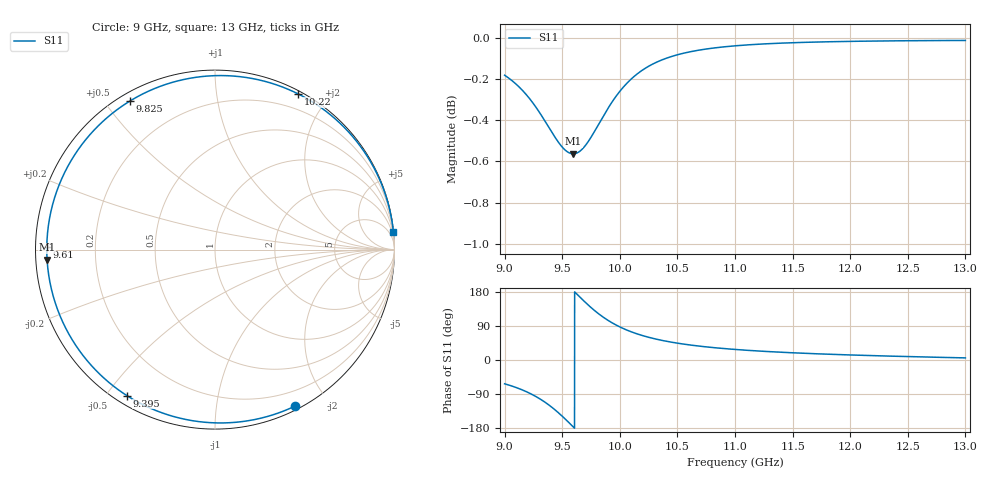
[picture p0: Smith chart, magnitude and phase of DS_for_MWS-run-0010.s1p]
! TOUCHSTONE file generated by CST DESIGN STUDIO
! Date and time: Tue Feb  4 16:01:47 2025
! Project name: C:\Work\MatlabApps\UnitCellOptimizationMatlab\CST\unitcell.cst
! Tree item: Tasks\Sweep1\SPara1\S-Parameters
! Header version: 2024
! Port assignment regex: !\s*Touchstone port\s*([0-9]+)\s*=\s*(CST MWS port|CST DES external port|CST DES block port)\s*(.+)\s* \(\"(.*)\"\)(\s*mode\s*([0-9]+))?.*
! Touchstone port assignment:
! Touchstone port 1 = CST DES external port 1 ("")
# GHz S MA R 50
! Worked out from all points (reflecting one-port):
!   4001 points, 9 GHz to 13 GHz, reference 50 ohm
!   lowest |S11| = -0.6 dB at 9.596 GHz (marker M1), VSWR 30.86, Z = 1.62 - j1.48 ohm
!   phase of S11 starts at -63 deg and turns -292 deg over the sweep
!   S11 on the Smith chart (normalised r, x): 9 GHz: 0.04, -1.64; 9.395 GHz: 0.03, -0.56; 9.61 GHz: 0.03, +0.01; 9.825 GHz: 0.03, +0.58; 10.22 GHz: 0.03, +1.66; 13 GHz: 0, +21
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9  0.9794 -62.8
9.051  0.9771 -67.5
9.121  0.9733 -75.0
9.242  0.9646 -91.5
9.324  0.9572 -106.0
9.395  0.9501 -121.2
9.447  0.9451 -133.9
9.5  0.9408 -148.2
9.55  0.9381 -162.7
9.596  0.9372 -176.6
9.61  0.9373 179.2
9.655  0.9387 165.6
9.702  0.9417 151.8
9.764  0.9473 134.8
9.825  0.9538 119.9
9.864  0.958 111.4
9.905  0.9622 103.2
10  0.9706 87.3
10.108  0.9778 73.4
10.225  0.9833 62.0
10.352  0.9875 52.7
10.5  0.9906 44.4
10.72  0.9936 35.6
11  0.9956 27.9
11.5  0.9974 19.0
12  0.9981 13.3
12.5  0.9985 9.0
13  0.9986 5.6
